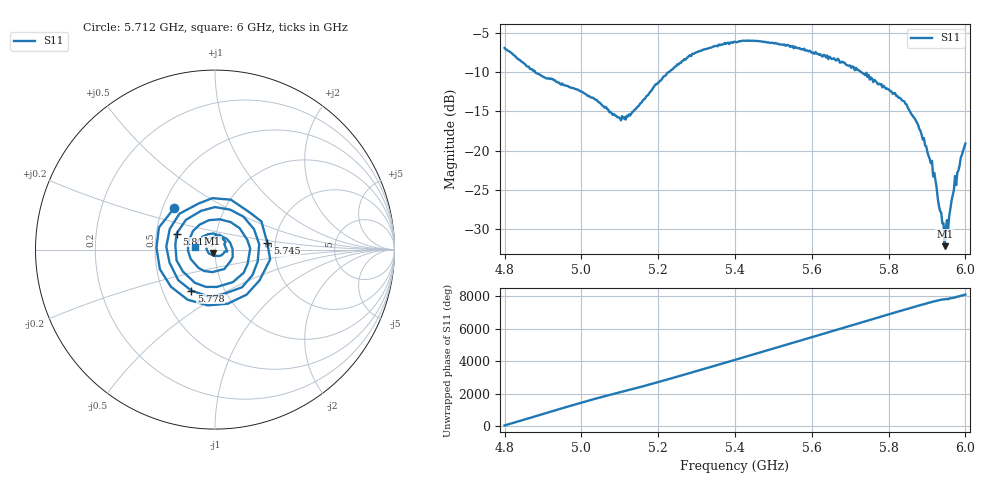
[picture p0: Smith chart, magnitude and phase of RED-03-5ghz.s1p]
! NanoVNA-App
! Date: 2026-05-22 18:33:11
! Start: 4.8GHz Stop: 6GHz Points: 401
! S-Parameter data: F S11
# Hz S RI R 50
!  Frequency  S11_Real  S11_Imag
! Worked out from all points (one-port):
!   401 points, 4.8 GHz to 6 GHz, reference 50 ohm
!   lowest |S11| = -32.1 dB at 5.946 GHz (marker M1), VSWR 1.05, Z = 48.6 - j1.99 ohm
!   |S11| at or under -10 dB: 4.88 GHz to 5.229 GHz (349.3 MHz wide, 6.91 % of centre); 5.728 GHz to end of sweep
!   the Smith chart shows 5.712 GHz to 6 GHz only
!   S11 on the Smith chart (normalised r, x): 5.712 GHz: 0.57, +0.29; 5.745 GHz: 1.81, +0.15; 5.778 GHz: 0.70, -0.34; 5.817 GHz: 0.64, +0.12; 6 GHz: 0.80, +0.02
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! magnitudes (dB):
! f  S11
! 4.8 GHz  -7.0
! 4.887 GHz  -10.2
! 4.95 GHz  -11.5
! 5.034 GHz  -13.4
! 5.1 GHz  -15.8
! 5.133 GHz  -15.1
! 5.193 GHz  -11.6
! 5.25 GHz  -9.0
! 5.301 GHz  -7.5
! 5.4 GHz  -6.2
! 5.457 GHz  -6.1
! 5.55 GHz  -6.7
! 5.7 GHz  -9.2
! 5.712 GHz  -9.8
! 5.745 GHz  -10.6
! 5.778 GHz  -11.6
! 5.817 GHz  -12.7
! 5.85 GHz  -14.5
! 5.877 GHz  -16.8
! 5.907 GHz  -21.0
! 5.919 GHz  -22.8
! 5.94 GHz  -29.2
! 5.946 GHz  -32.1
! 5.952 GHz  -28.8
! 5.967 GHz  -25.7
! 5.973 GHz  -23.2
! 5.994 GHz  -20.0
! 6 GHz  -19.1
